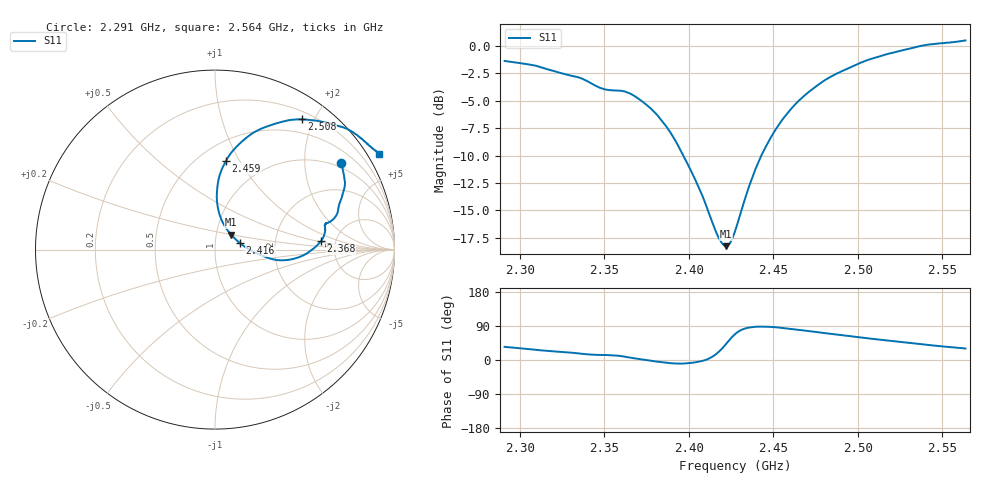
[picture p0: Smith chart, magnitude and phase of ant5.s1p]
!Agilent Technologies,N5230A,MY46400454,A.06.04.21
!Agilent N5230A: A.06.04.21
!Date: Sunday, October 28, 2018 12:15:40
!Correction: S11(Full 1 Port(1))
!S1P File: Measurement: S11:
# Hz S  dB  R 50
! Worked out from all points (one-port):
!   1601 points, 2.291 GHz to 2.564 GHz, reference 50 ohm
!   lowest |S11| = -18.3 dB at 2.422 GHz (marker M1), VSWR 1.28, Z = 59 + j9.87 ohm
!   |S11| at or under -10 dB: 2.397 GHz to 2.443 GHz (46.22 MHz wide, 1.91 % of centre)
!   S11 on the Smith chart (normalised r, x): 2.291 GHz: 0.84, +3.00; 2.368 GHz: 3.81, +0.55; 2.416 GHz: 1.32, +0.10; 2.459 GHz: 0.67, +0.88; 2.508 GHz: 0.30, +1.83; 2.564 GHz: -0.41, +3.65
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2.290884e9  -1.38 34.6
2.309297e9  -1.81 26.9
2.324982e9  -2.52 21.1
2.335894e9  -2.93 16.8
2.342543e9  -3.46 14.0
2.350386e9  -3.97 13.3
2.359081e9  -4.09 10.8
2.367606e9  -4.56 4.5
2.380905e9  -6.25 -4.1
2.387554e9  -7.55 -7.7
2.39318e9  -8.98 -9.5
2.406308e9  -13.07 -4.0
2.415685e9  -16.82 14.2
2.419266e9  -17.93 28.6
2.421994e9  -18.26 42.4
2.424551e9  -17.91 55.9
2.427279e9  -16.91 68.2
2.435463e9  -12.87 85.6
2.441771e9  -10.37 88.1
2.450125e9  -7.93 86.8
2.458821e9  -6.06 83.0
2.461378e9  -5.60 81.7
2.479621e9  -3.22 71.4
2.495477e9  -1.96 62.8
2.507752e9  -1.19 56.3
2.529576e9  -0.29 45.7
2.543215e9  0.14 39.0
2.563675e9  0.49 30.3
